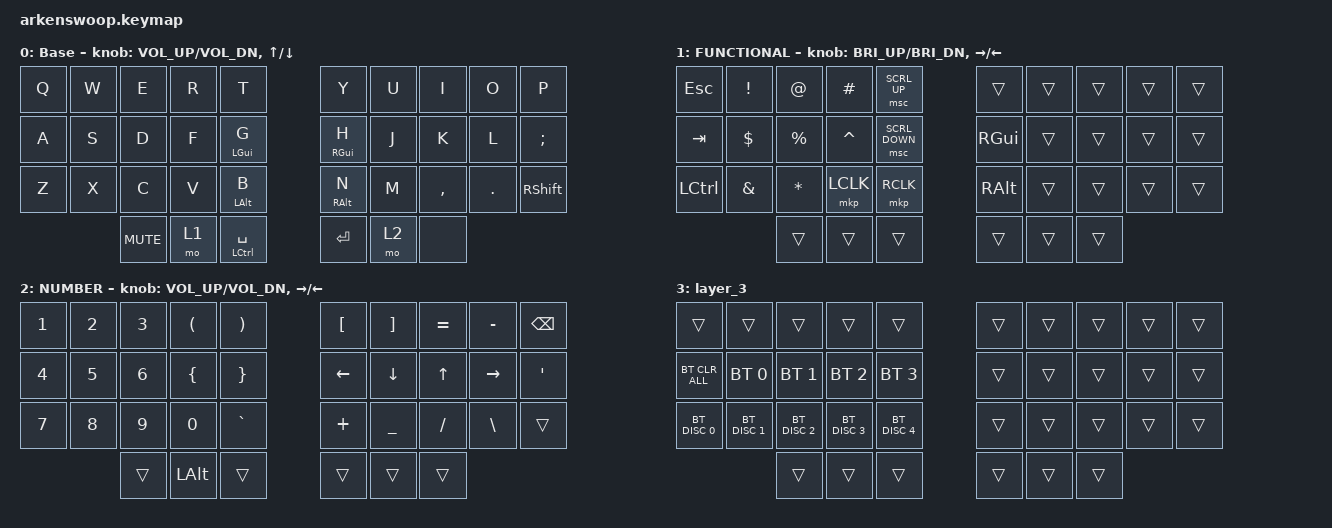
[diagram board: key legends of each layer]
/*
 * Copyright (c) 2020 duckyb
 *
 * SPDX-License-Identifier: MIT
 */

#include <behaviors.dtsi>
#include <dt-bindings/zmk/bt.h>
#include <dt-bindings/zmk/keys.h>
#include <dt-bindings/zmk/pointing.h>

/ {
    behaviors {
        tab_esc_ctrl: tab_esc_ctrl {
            compatible = "zmk,behavior-tap-dance";
            label = "TAB_ESC_CTRL";
            #binding-cells = <0>;
            bindings = <&mt LCTRL ESC>, <&kp TAB>;
        };

        gqt: global-quick-tap {
            compatible = "zmk,behavior-hold-tap";
            label = "GLOBAL_QUICK_TAP";
            bindings = <&kp>, <&kp>;

            #binding-cells = <2>;
            quick-tap-ms = <180>;
            tapping-term-ms = <200>;
            global-quick-tap;
            flavor = "tap-preferred";
        };

        ltq: ltq {
            compatible = "zmk,behavior-hold-tap";
            label = "LTQ";
            bindings = <&mo>, <&kp>;

            #binding-cells = <2>;
            global-quick-tap;
            tapping-term-ms = <200>;
            quick-tap-ms = <180>;
        };
    };

    keymap {
        compatible = "zmk,keymap";

        base {
            label = "Base";
            bindings = <
&kp Q  &kp W  &kp E       &kp R  &kp T                     &kp Y            &kp U  &kp I      &kp O    &kp P
&kp A  &kp S  &kp D       &kp F  &mt LEFT_GUI G            &mt RIGHT_GUI H  &kp J  &kp K      &kp L    &kp SEMICOLON
&kp Z  &kp X  &kp C       &kp V  &mt LEFT_ALT B            &mt RIGHT_ALT N  &kp M  &kp COMMA  &kp DOT  &kp RIGHT_SHIFT
              &kp C_MUTE  &mo 1  &mt LEFT_CONTROL SPACE    &kp ENTER        &mo 2  &none
            >;

            sensor-bindings = <&inc_dec_kp C_VOL_UP C_VOL_DN &inc_dec_kp UP DOWN>;
        };

        functional {
            label = "FUNCTIONAL";
            bindings = <
&kp ESCAPE  &kp EXCLAMATION  &kp AT_SIGN   &kp HASH   &msc SCRL_UP      &trans         &trans  &trans  &trans  &trans
&kp TAB     &kp DOLLAR       &kp PERCENT   &kp CARET  &msc SCRL_DOWN    &kp RIGHT_GUI  &trans  &trans  &trans  &trans
&kp LCTRL   &kp AMPERSAND    &kp ASTERISK  &mkp LCLK  &mkp RCLK         &kp RIGHT_ALT  &trans  &trans  &trans  &trans
                             &trans        &trans     &trans            &trans         &trans  &trans
            >;

            sensor-bindings = <&inc_dec_kp C_BRI_UP C_BRI_DN &inc_dec_kp RIGHT LEFT>;
        };

        number {
            label = "NUMBER";
            bindings = <
&kp NUMBER_1  &kp NUMBER_2  &kp NUMBER_3  &kp LEFT_PARENTHESIS  &kp RIGHT_PARENTHESIS    &kp LEFT_BRACKET  &kp RIGHT_BRACKET  &kp EQUAL     &kp MINUS        &kp BACKSPACE
&kp NUMBER_4  &kp NUMBER_5  &kp NUMBER_6  &kp LEFT_BRACE        &kp RIGHT_BRACE          &kp LEFT_ARROW    &kp DOWN_ARROW     &kp UP_ARROW  &kp RIGHT_ARROW  &kp SQT
&kp NUMBER_7  &kp NUMBER_8  &kp NUMBER_9  &kp NUMBER_0          &kp GRAVE                &kp PLUS          &kp UNDERSCORE     &kp FSLH      &kp BACKSLASH    &trans
                            &trans        &kp LALT              &trans                   &trans            &trans             &trans
            >;

            sensor-bindings = <&inc_dec_kp C_VOL_UP C_VOL_DN &inc_dec_kp RIGHT LEFT>;
        };

        layer_3 {
            bindings = <
&trans          &trans         &trans         &trans         &trans           &trans  &trans  &trans  &trans  &trans
&bt BT_CLR_ALL  &bt BT_SEL 0   &bt BT_SEL 1   &bt BT_SEL 2   &bt BT_SEL 3     &trans  &trans  &trans  &trans  &trans
&bt BT_DISC 0   &bt BT_DISC 1  &bt BT_DISC 2  &bt BT_DISC 3  &bt BT_DISC 4    &trans  &trans  &trans  &trans  &trans
                               &trans         &trans         &trans           &trans  &trans  &trans
            >;
        };
    };

    conditional_layers {
        compatible = "zmk,conditional-layers";

        tri_layer {
            if-layers = <1 2>;
            then-layer = <3>;
        };
    };
};
